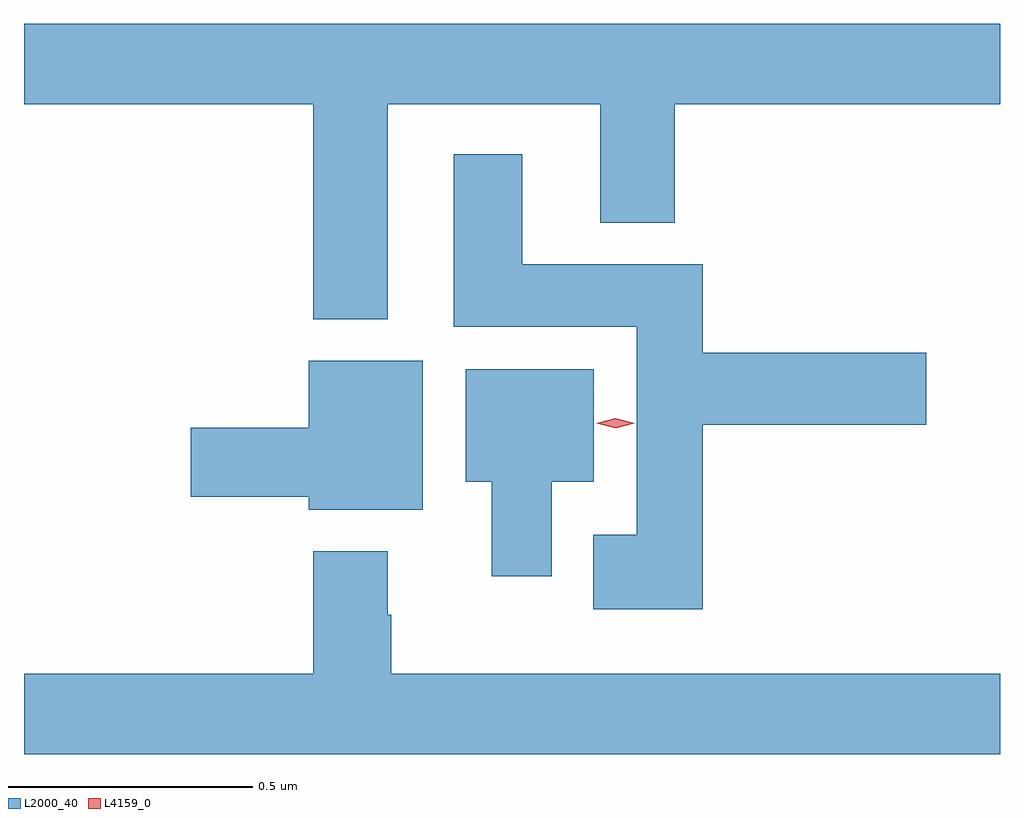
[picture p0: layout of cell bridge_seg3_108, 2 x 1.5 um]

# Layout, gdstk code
import gdstk
lib = gdstk.Library(unit=1e-6, precision=1e-09)
def P(c, l, *ps):  # polygons
    for p in ps: c.add(gdstk.Polygon(p, *l))
L2000_40 = (2000, 40)
L4159_0 = (4159, 0)

bridge_seg3_108 = lib.new_cell('bridge_seg3_108')
P(bridge_seg3_108, L2000_40, [(635.935,724.892),(636.371,724.892),(636.371,724.649),(636.524,724.649),(636.524,724.892),(637.19,724.892),(637.19,725.056),(635.19,725.056),(635.19,724.892),(635.783,724.892),(635.783,724.451),(635.935,724.451)],
  [(636.581,724.235),(637.039,724.235),(637.039,724.382),(636.581,724.382),(636.581,724.564),(636.211,724.564),(636.211,724.789),(636.071,724.789),(636.071,724.436),(636.446,724.436),(636.446,724.009),(636.356,724.009),(636.356,723.857),(636.581,723.857)],
  [(636.007,724.366),(635.774,724.366),(635.774,724.229),(635.532,724.229),(635.532,724.087),(635.774,724.087),(635.774,724.061),(636.007,724.061)],
  [(636.271,724.118),(636.358,724.118),(636.358,724.348),(636.095,724.348),(636.095,724.118),(636.149,724.118),(636.149,723.924),(636.271,723.924)],
  [(637.19,723.724),(635.943,723.724),(635.943,723.845),(635.935,723.845),(635.935,723.976),(635.783,723.976),(635.783,723.724),(635.19,723.724),(635.19,723.56),(637.19,723.56)])
P(bridge_seg3_108, L4159_0, [(636.403,724.228),(636.363,724.238),(636.363,724.238),(636.363,724.238),(636.402,724.248),(636.442,724.238),(636.442,724.238),(636.442,724.238)])

lib.write_gds('bridge_seg3_108.gds')
